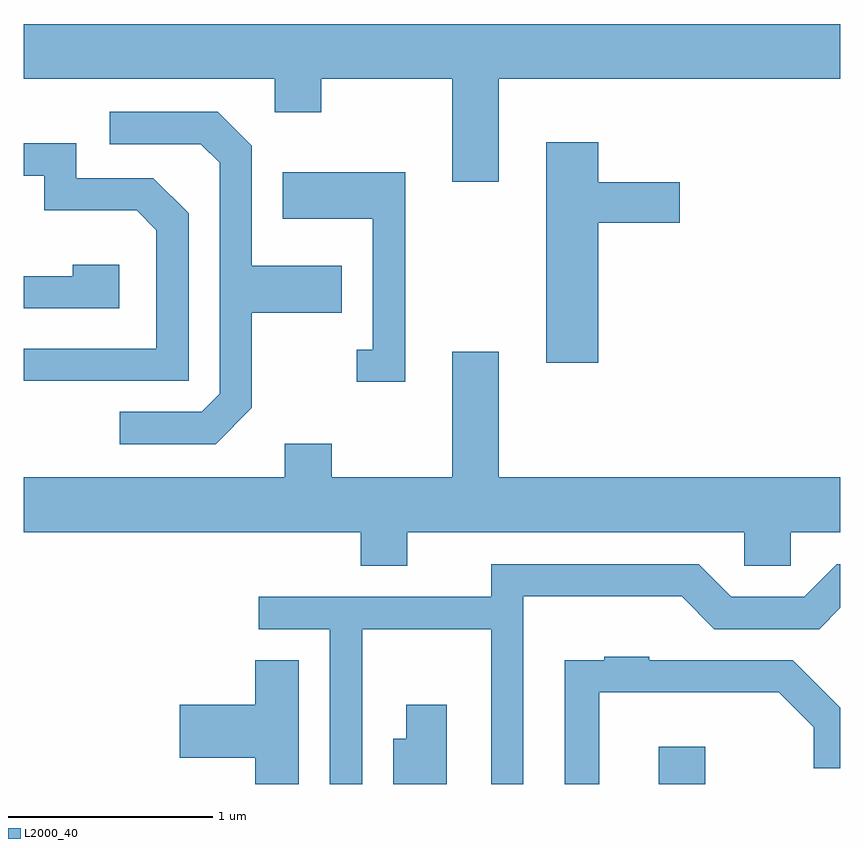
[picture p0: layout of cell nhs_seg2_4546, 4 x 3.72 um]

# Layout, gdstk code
import gdstk
lib = gdstk.Library(unit=1e-6, precision=1e-09)
def R(c, l, rs):  # rectangles x0, y0, x1, y1
    for r in rs: c.add(gdstk.rectangle(r[:2], r[2:], *l))
def P(c, l, *ps):  # polygons
    for p in ps: c.add(gdstk.Polygon(p, *l))
L2000_40 = (2000, 40)

nhs_seg2_4546 = lib.new_cell('nhs_seg2_4546')
R(nhs_seg2_4546, L2000_40, [(322.721,993.802,322.949,993.984)])
P(nhs_seg2_4546, L2000_40, [(319.611,997.256),(320.841,997.256),(320.841,997.091),(321.069,997.091),(321.069,997.256),(321.711,997.256),(321.711,996.751),(321.939,996.751),(321.939,997.256),(323.611,997.256),(323.611,997.524),(319.611,997.524)],
  [(320.729,995.644),(320.729,996.111),(321.169,996.111),(321.169,996.339),(320.729,996.339),(320.729,996.927),(320.562,997.094),(320.033,997.094),(320.033,996.936),(320.479,996.936),(320.571,996.844),(320.571,995.712),(320.484,995.624),(320.083,995.624),(320.083,995.466),(320.552,995.466)],
  [(322.424,996.551),(322.824,996.551),(322.824,996.749),(322.424,996.749),(322.424,996.944),(322.171,996.944),(322.171,995.866),(322.424,995.866)],
  [(320.419,996.597),(320.247,996.769),(319.869,996.769),(319.869,996.939),(319.611,996.939),(319.611,996.781),(319.711,996.781),(319.711,996.611),(320.164,996.611),(320.261,996.514),(320.261,995.934),(319.611,995.934),(319.611,995.776),(320.419,995.776)],
  [(321.479,996.799),(320.881,996.799),(320.881,996.571),(321.321,996.571),(321.321,995.929),(321.243,995.929),(321.243,995.771),(321.479,995.771)],
  [(320.079,996.344),(319.851,996.344),(319.851,996.289),(319.611,996.289),(319.611,996.131),(320.079,996.131)],
  [(321.489,995.036),(323.141,995.036),(323.141,994.871),(323.369,994.871),(323.369,995.036),(323.611,995.036),(323.611,995.304),(321.939,995.304),(321.939,995.919),(321.711,995.919),(321.711,995.304),(321.119,995.304),(321.119,995.469),(320.891,995.469),(320.891,995.304),(319.611,995.304),(319.611,995.036),(321.261,995.036),(321.261,994.871),(321.489,994.871)],
  [(321.269,994.561),(321.901,994.561),(321.901,993.802),(322.059,993.802),(322.059,994.721),(322.834,994.721),(322.994,994.561),(323.507,994.561),(323.611,994.665),(323.611,994.879),(323.594,994.879),(323.434,994.719),(323.077,994.719),(322.917,994.879),(321.901,994.879),(321.901,994.719),(320.763,994.719),(320.763,994.561),(321.111,994.561),(321.111,993.802),(321.269,993.802)],
  [(322.429,994.251),(323.309,994.251),(323.481,994.079),(323.481,993.878),(323.611,993.878),(323.611,994.175),(323.377,994.409),(322.675,994.409),(322.675,994.424),(322.455,994.424),(322.455,994.409),(322.261,994.409),(322.261,993.802),(322.429,993.802)],
  [(320.959,994.409),(320.746,994.409),(320.746,994.189),(320.376,994.189),(320.376,993.931),(320.746,993.931),(320.746,993.802),(320.959,993.802)],
  [(321.684,994.189),(321.486,994.189),(321.486,994.024),(321.421,994.024),(321.421,993.802),(321.684,993.802)])

lib.write_gds('nhs_seg2_4546.gds')
